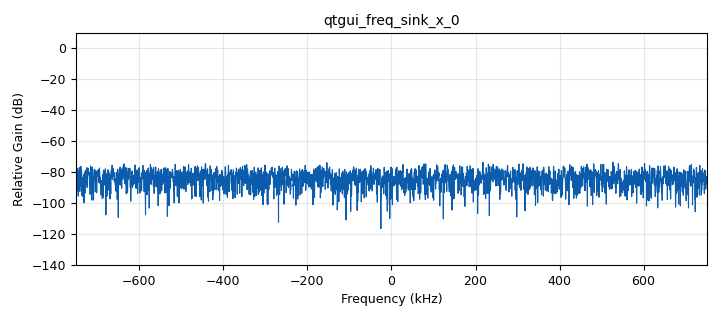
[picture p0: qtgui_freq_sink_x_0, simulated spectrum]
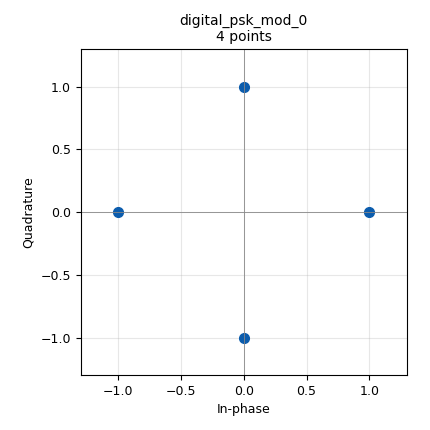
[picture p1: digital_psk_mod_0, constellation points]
<?xml version='1.0' encoding='utf-8'?>
<?grc format='1' created='3.7.11'?>
<flow_graph>
<block>
<key>options</key>
<param><key>id</key><value>signal_extractor</value></param>
<param><key>generate_options</key><value>qt_gui</value></param>
</block>
<block>
<key>variable_qtgui_chooser</key>
<param><key>id</key><value>active_mod</value></param>
<param><key>value</key><value>2</value></param>
<param><key>label0</key><value>BPSK</value></param>
<param><key>label1</key><value>QPSK</value></param>
<param><key>label2</key><value>GFSK</value></param>
<param><key>label3</key><value>GMSK</value></param>
<param><key>label4</key><value>8PSK</value></param>
<param><key>num_opts</key><value>5</value></param>
<param><key>option0</key><value>0</value></param>
<param><key>option1</key><value>1</value></param>
<param><key>option2</key><value>2</value></param>
<param><key>option3</key><value>3</value></param>
<param><key>option4</key><value>4</value></param>
<param><key>type</key><value>int</value></param>
<param><key>widget</key><value>radio_buttons</value></param>
</block>
<block>
<key>variable</key>
<param><key>id</key><value>channel_bw</value></param>
<param><key>value</key><value>20e3</value></param>
</block>
<block>
<key>variable</key>
<param><key>id</key><value>channel_num</value></param>
<param><key>value</key><value>int(samp_rate / channel_bw)</value></param>
</block>
<block>
<key>variable</key>
<param><key>id</key><value>fft_size</value></param>
<param><key>value</key><value>int((samp_rate * ifft_size) / channel_bw)</value></param>
</block>
<block>
<key>variable_qtgui_range</key>
<param><key>id</key><value>freq_range</value></param>
<param><key>value</key><value>0</value></param>
<param><key>orient</key><value>Qt.Horizontal</value></param>
<param><key>start</key><value>-samp_rate/4</value></param>
<param><key>step</key><value>1e3</value></param>
<param><key>stop</key><value>samp_rate/4</value></param>
</block>
<block>
<key>variable</key>
<param><key>id</key><value>ifft_size</value></param>
<param><key>value</key><value>128</value></param>
</block>
<block>
<key>variable_qtgui_range</key>
<param><key>id</key><value>noise_amp</value></param>
<param><key>value</key><value>0.01</value></param>
<param><key>orient</key><value>Qt.Horizontal</value></param>
<param><key>start</key><value>0.01</value></param>
<param><key>step</key><value>0.01</value></param>
<param><key>stop</key><value>3</value></param>
</block>
<block>
<key>variable_qtgui_check_box</key>
<param><key>id</key><value>power_switch</value></param>
<param><key>value</key><value>0</value></param>
<param><key>false</key><value>0</value></param>
<param><key>true</key><value>0.65</value></param>
<param><key>type</key><value>real</value></param>
</block>
<block>
<key>variable</key>
<param><key>id</key><value>samp_rate</value></param>
<param><key>value</key><value>1.5e6</value></param>
</block>
<block>
<key>variable_low_pass_filter_taps</key>
<param><key>id</key><value>taps</value></param>
<param><key>cutoff_freq</key><value>0.4</value></param>
<param><key>gain</key><value>1</value></param>
<param><key>samp_rate</key><value>1.0</value></param>
<param><key>width</key><value>0.495</value></param>
<param><key>win</key><value>firdes.WIN_HAMMING</value></param>
</block>
<block>
<key>analog_noise_source_x</key>
<param><key>id</key><value>analog_noise_source_x_0</value></param>
<param><key>amp</key><value>noise_amp</value></param>
<param><key>noise_type</key><value>analog.GR_GAUSSIAN</value></param>
<param><key>type</key><value>complex</value></param>
<param><key>seed</key><value>int(round(time.time() * 1000))</value></param>
</block>
<block>
<key>analog_random_source_x</key>
<param><key>id</key><value>analog_random_source_x_0_0_1_0_0</value></param>
<param><key>max</key><value>255</value></param>
<param><key>min</key><value>0</value></param>
<param><key>num_samps</key><value>5000000</value></param>
<param><key>type</key><value>byte</value></param>
<param><key>repeat</key><value>True</value></param>
</block>
<block>
<key>analog_sig_source_x</key>
<param><key>id</key><value>analog_sig_source_x_0_0_0</value></param>
<param><key>amp</key><value>power_switch</value></param>
<param><key>freq</key><value>freq_range</value></param>
<param><key>offset</key><value>0</value></param>
<param><key>type</key><value>complex</value></param>
<param><key>samp_rate</key><value>samp_rate</value></param>
<param><key>waveform</key><value>analog.GR_COS_WAVE</value></param>
</block>
<block>
<key>blocks_add_xx</key>
<param><key>id</key><value>blocks_add_xx_0</value></param>
<param><key>type</key><value>complex</value></param>
</block>
<block>
<key>blocks_complex_to_mag_squared</key>
<param><key>id</key><value>blocks_complex_to_mag_squared_0_0</value></param>
</block>
<block>
<key>blocks_delay</key>
<param><key>id</key><value>blocks_delay_0</value></param>
<param><key>delay</key><value>1</value></param>
<param><key>type</key><value>complex</value></param>
</block>
<block>
<key>blocks_file_sink</key>
<param><key>id</key><value>blocks_file_sink_0</value></param>
<param><key>_enabled</key><value>0</value></param>
<param><key>file</key><value>/home/ctriant/captures/psk8_01.bin</value></param>
<param><key>type</key><value>complex</value></param>
</block>
<block>
<key>blocks_message_debug</key>
<param><key>id</key><value>blocks_message_debug_0_0</value></param>
</block>
<block>
<key>blocks_multiply_conjugate_cc</key>
<param><key>id</key><value>blocks_multiply_conjugate_cc_0</value></param>
</block>
<block>
<key>blocks_multiply_conjugate_cc</key>
<param><key>id</key><value>blocks_multiply_conjugate_cc_0_0_0</value></param>
<param><key>_enabled</key><value>0</value></param>
</block>
<block>
<key>blocks_multiply_const_vxx</key>
<param><key>id</key><value>blocks_multiply_const_vxx_0_0</value></param>
<param><key>const</key><value>(1.0)/fft_size</value></param>
<param><key>type</key><value>complex</value></param>
</block>
<block>
<key>blocks_multiply_xx</key>
<param><key>id</key><value>blocks_multiply_xx_0</value></param>
<param><key>type</key><value>complex</value></param>
</block>
<block>
<key>blocks_multiply_xx</key>
<param><key>id</key><value>blocks_multiply_xx_0_0</value></param>
<param><key>type</key><value>complex</value></param>
</block>
<block>
<key>blocks_stream_to_vector</key>
<param><key>id</key><value>blocks_stream_to_vector_1</value></param>
<param><key>type</key><value>complex</value></param>
<param><key>num_items</key><value>fft_size</value></param>
</block>
<block>
<key>blocks_vector_to_stream</key>
<param><key>id</key><value>blocks_vector_to_stream_1</value></param>
<param><key>type</key><value>complex</value></param>
<param><key>num_items</key><value>fft_size</value></param>
</block>
<block>
<key>digital_psk_mod</key>
<param><key>id</key><value>digital_psk_mod_0</value></param>
<param><key>differential</key><value>True</value></param>
<param><key>excess_bw</key><value>0.35</value></param>
<param><key>mod_code</key><value>"gray"</value></param>
<param><key>constellation_points</key><value>4</value></param>
<param><key>samples_per_symbol</key><value>16</value></param>
</block>
<block>
<key>fft_vxx</key>
<param><key>id</key><value>fft_vxx_1</value></param>
<param><key>fft_size</key><value>fft_size</value></param>
<param><key>forward</key><value>True</value></param>
<param><key>type</key><value>complex</value></param>
<param><key>shift</key><value>True</value></param>
<param><key>window</key><value></value></param>
</block>
<block>
<key>import</key>
<param><key>id</key><value>import_0</value></param>
<param><key>import</key><value>import time</value></param>
</block>
<block>
<key>phasma_eigenvalue_signal_detector</key>
<param><key>id</key><value>phasma_eigenvalue_signal_detector_0</value></param>
<param><key>actual_bw</key><value>samp_rate</value></param>
<param><key>eigen_samples</key><value>256</value></param>
<param><key>fft_size</key><value>fft_size</value></param>
<param><key>pfa</key><value>0.01</value></param>
<param><key>noise_floor_est_cnt</key><value>500</value></param>
<param><key>sampling_rate</key><value>samp_rate</value></param>
<param><key>smoothing_factor</key><value>10</value></param>
</block>
<block>
<key>phasma_opencv_predict</key>
<param><key>id</key><value>phasma_opencv_predict_0</value></param>
<param><key>active_mod</key><value>active_mod</value></param>
<param><key>classifier_type</key><value>0</value></param>
<param><key>debug_mode</key><value>True</value></param>
<param><key>nlabels</key><value>5</value></param>
<param><key>data_type</key><value>3</value></param>
<param><key>labels</key><value>(0,1,2,3,4)</value></param>
<param><key>metafile</key><value></value></param>
<param><key>history_size</key><value>1000</value></param>
<param><key>npredictors</key><value>1024</value></param>
<param><key>filename</key><value>/home/ctriant/multi_snr.xml</value></param>
</block>
<block>
<key>phasma_sigmf_debug</key>
<param><key>id</key><value>phasma_sigmf_debug_0</value></param>
<param><key>conseq_channel_num</key><value>channel_num</value></param>
<param><key>ifft_size</key><value>ifft_size</value></param>
</block>
<block>
<key>phasma_signal_separator</key>
<param><key>id</key><value>phasma_signal_separator_0</value></param>
<param><key>channel_bw</key><value>channel_bw</value></param>
<param><key>threshold_db</key><value>-74</value></param>
<param><key>threshold_margin_db</key><value>3</value></param>
<param><key>center_freq</key><value>-samp_rate/2</value></param>
<param><key>ifft_size</key><value>ifft_size</value></param>
<param><key>min_sig_bw</key><value>70e3</value></param>
<param><key>sig_num</key><value>100</value></param>
<param><key>samp_rate</key><value>samp_rate</value></param>
<param><key>signal_duration</key><value>100e-3</value></param>
<param><key>silence_guardband</key><value>5e3</value></param>
<param><key>taps</key><value>taps</value></param>
</block>
<block>
<key>qtgui_freq_sink_x</key>
<param><key>id</key><value>qtgui_freq_sink_x_0</value></param>
<param><key>bw</key><value>samp_rate</value></param>
<param><key>fc</key><value>0</value></param>
<param><key>fftsize</key><value>4096</value></param>
<param><key>showports</key><value>True</value></param>
<param><key>type</key><value>complex</value></param>
<param><key>update_time</key><value>0.5</value></param>
<param><key>wintype</key><value>firdes.WIN_BLACKMAN_hARRIS</value></param>
</block>
<block>
<key>qtgui_freq_sink_x</key>
<param><key>id</key><value>qtgui_freq_sink_x_0_0</value></param>
<param><key>bw</key><value>samp_rate</value></param>
<param><key>fc</key><value>0</value></param>
<param><key>_enabled</key><value>0</value></param>
<param><key>fftsize</key><value>4096</value></param>
<param><key>showports</key><value>True</value></param>
<param><key>type</key><value>complex</value></param>
<param><key>update_time</key><value>0.5</value></param>
<param><key>wintype</key><value>firdes.WIN_BLACKMAN_hARRIS</value></param>
</block>
<block>
<key>qtgui_freq_sink_x</key>
<param><key>id</key><value>qtgui_freq_sink_x_0_1</value></param>
<param><key>bw</key><value>samp_rate</value></param>
<param><key>fc</key><value>0</value></param>
<param><key>fftsize</key><value>1024</value></param>
<param><key>showports</key><value>True</value></param>
<param><key>type</key><value>complex</value></param>
<param><key>wintype</key><value>firdes.WIN_BLACKMAN_hARRIS</value></param>
</block>
<block>
<key>qtgui_time_sink_x</key>
<param><key>id</key><value>qtgui_time_sink_x_0_0</value></param>
<param><key>_enabled</key><value>0</value></param>
<param><key>color1</key><value>"blue"</value></param>
<param><key>label1</key><value></value></param>
<param><key>color2</key><value>"red"</value></param>
<param><key>label2</key><value></value></param>
<param><key>size</key><value>1024</value></param>
<param><key>srate</key><value>samp_rate</value></param>
<param><key>type</key><value>complex</value></param>
</block>
<connection><source_block_id>analog_noise_source_x_0</source_block_id><sink_block_id>blocks_add_xx_0</sink_block_id><source_key>0</source_key><sink_key>0</sink_key></connection>
<connection><source_block_id>analog_random_source_x_0_0_1_0_0</source_block_id><sink_block_id>digital_psk_mod_0</sink_block_id><source_key>0</source_key><sink_key>0</sink_key></connection>
<connection><source_block_id>analog_sig_source_x_0_0_0</source_block_id><sink_block_id>blocks_multiply_xx_0_0</sink_block_id><source_key>0</source_key><sink_key>1</sink_key></connection>
<connection><source_block_id>blocks_add_xx_0</source_block_id><sink_block_id>blocks_stream_to_vector_1</sink_block_id><source_key>0</source_key><sink_key>0</sink_key></connection>
<connection><source_block_id>blocks_add_xx_0</source_block_id><sink_block_id>phasma_eigenvalue_signal_detector_0</sink_block_id><source_key>0</source_key><sink_key>0</sink_key></connection>
<connection><source_block_id>blocks_add_xx_0</source_block_id><sink_block_id>phasma_signal_separator_0</sink_block_id><source_key>0</source_key><sink_key>1</sink_key></connection>
<connection><source_block_id>blocks_add_xx_0</source_block_id><sink_block_id>qtgui_freq_sink_x_0</sink_block_id><source_key>0</source_key><sink_key>0</sink_key></connection>
<connection><source_block_id>blocks_add_xx_0</source_block_id><sink_block_id>qtgui_time_sink_x_0_0</sink_block_id><source_key>0</source_key><sink_key>0</sink_key></connection>
<connection><source_block_id>blocks_complex_to_mag_squared_0_0</source_block_id><sink_block_id>phasma_signal_separator_0</sink_block_id><source_key>0</source_key><sink_key>0</sink_key></connection>
<connection><source_block_id>blocks_delay_0</source_block_id><sink_block_id>blocks_multiply_conjugate_cc_0</sink_block_id><source_key>0</source_key><sink_key>1</sink_key></connection>
<connection><source_block_id>blocks_multiply_conjugate_cc_0</source_block_id><sink_block_id>blocks_multiply_xx_0</sink_block_id><source_key>0</source_key><sink_key>0</sink_key></connection>
<connection><source_block_id>blocks_multiply_conjugate_cc_0</source_block_id><sink_block_id>blocks_multiply_xx_0</sink_block_id><source_key>0</source_key><sink_key>1</sink_key></connection>
<connection><source_block_id>blocks_multiply_conjugate_cc_0_0_0</source_block_id><sink_block_id>qtgui_freq_sink_x_0_1</sink_block_id><source_key>0</source_key><sink_key>0</sink_key></connection>
<connection><source_block_id>blocks_multiply_const_vxx_0_0</source_block_id><sink_block_id>blocks_complex_to_mag_squared_0_0</sink_block_id><source_key>0</source_key><sink_key>0</sink_key></connection>
<connection><source_block_id>blocks_multiply_xx_0</source_block_id><sink_block_id>qtgui_freq_sink_x_0_1</sink_block_id><source_key>0</source_key><sink_key>0</sink_key></connection>
<connection><source_block_id>blocks_multiply_xx_0_0</source_block_id><sink_block_id>blocks_add_xx_0</sink_block_id><source_key>0</source_key><sink_key>1</sink_key></connection>
<connection><source_block_id>blocks_stream_to_vector_1</source_block_id><sink_block_id>fft_vxx_1</sink_block_id><source_key>0</source_key><sink_key>0</sink_key></connection>
<connection><source_block_id>blocks_vector_to_stream_1</source_block_id><sink_block_id>blocks_multiply_const_vxx_0_0</sink_block_id><source_key>0</source_key><sink_key>0</sink_key></connection>
<connection><source_block_id>digital_psk_mod_0</source_block_id><sink_block_id>blocks_multiply_xx_0_0</sink_block_id><source_key>0</source_key><sink_key>0</sink_key></connection>
<connection><source_block_id>fft_vxx_1</source_block_id><sink_block_id>blocks_vector_to_stream_1</sink_block_id><source_key>0</source_key><sink_key>0</sink_key></connection>
<connection><source_block_id>phasma_eigenvalue_signal_detector_0</source_block_id><sink_block_id>phasma_signal_separator_0</sink_block_id><source_key>threshold</source_key><sink_key>threshold_rcv</sink_key></connection>
<connection><source_block_id>phasma_opencv_predict_0</source_block_id><sink_block_id>blocks_message_debug_0_0</sink_block_id><source_key>classification</source_key><sink_key>print</sink_key></connection>
<connection><source_block_id>phasma_sigmf_debug_0</source_block_id><sink_block_id>blocks_delay_0</sink_block_id><source_key>0</source_key><sink_key>0</sink_key></connection>
<connection><source_block_id>phasma_sigmf_debug_0</source_block_id><sink_block_id>blocks_file_sink_0</sink_block_id><source_key>0</source_key><sink_key>0</sink_key></connection>
<connection><source_block_id>phasma_sigmf_debug_0</source_block_id><sink_block_id>blocks_multiply_conjugate_cc_0</sink_block_id><source_key>0</source_key><sink_key>0</sink_key></connection>
<connection><source_block_id>phasma_sigmf_debug_0</source_block_id><sink_block_id>qtgui_freq_sink_x_0_0</sink_block_id><source_key>0</source_key><sink_key>0</sink_key></connection>
<connection><source_block_id>phasma_signal_separator_0</source_block_id><sink_block_id>phasma_opencv_predict_0</sink_block_id><source_key>out</source_key><sink_key>in</sink_key></connection>
<connection><source_block_id>phasma_signal_separator_0</source_block_id><sink_block_id>phasma_sigmf_debug_0</sink_block_id><source_key>out</source_key><sink_key>sigmf</sink_key></connection>
</flow_graph>
